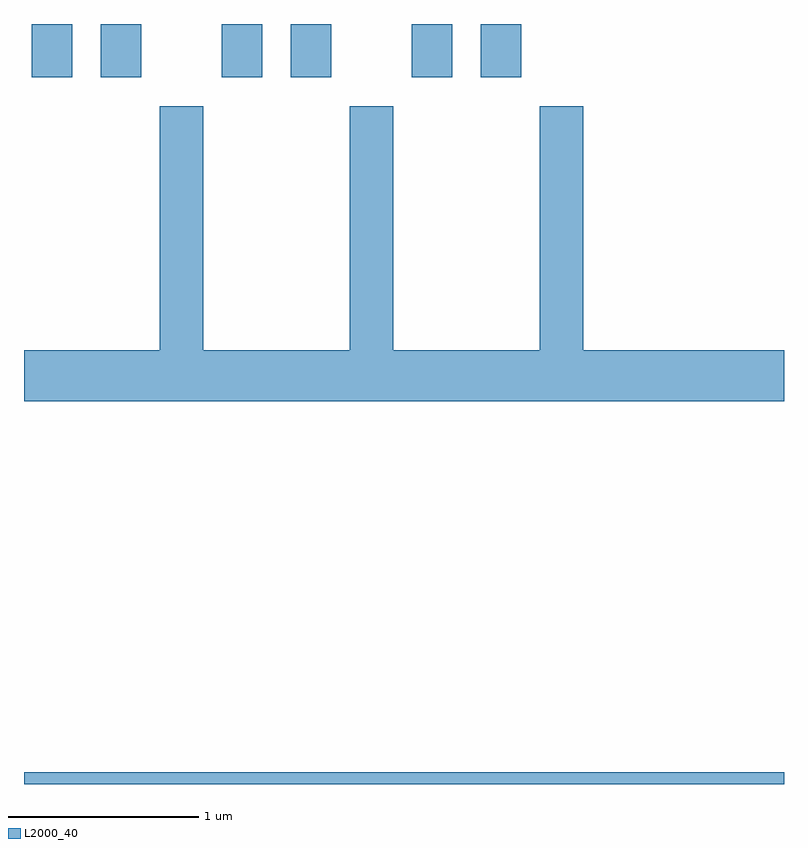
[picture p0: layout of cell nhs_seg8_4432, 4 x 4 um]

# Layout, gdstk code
import gdstk
lib = gdstk.Library(unit=1e-6, precision=1e-09)
def R(c, l, rs):  # rectangles x0, y0, x1, y1
    for r in rs: c.add(gdstk.rectangle(r[:2], r[2:], *l))
def P(c, l, *ps):  # polygons
    for p in ps: c.add(gdstk.Polygon(p, *l))
L2000_40 = (2000, 40)

nhs_seg8_4432 = lib.new_cell('nhs_seg8_4432')
R(nhs_seg8_4432, L2000_40, [(317.611,1894.342,321.611,1894.404), (317.651,1898.061,317.864,1898.342), (318.016,1898.061,318.229,1898.342), (318.651,1898.061,318.864,1898.342), (319.016,1898.061,319.229,1898.342), (319.651,1898.061,319.864,1898.342), (320.016,1898.061,320.229,1898.342)])
P(nhs_seg8_4432, L2000_40, [(321.611,1896.624),(320.554,1896.624),(320.554,1897.909),(320.326,1897.909),(320.326,1896.624),(319.554,1896.624),(319.554,1897.909),(319.326,1897.909),(319.326,1896.624),(318.554,1896.624),(318.554,1897.909),(318.326,1897.909),(318.326,1896.624),(317.611,1896.624),(317.611,1896.356),(321.611,1896.356)])

lib.write_gds('nhs_seg8_4432.gds')
